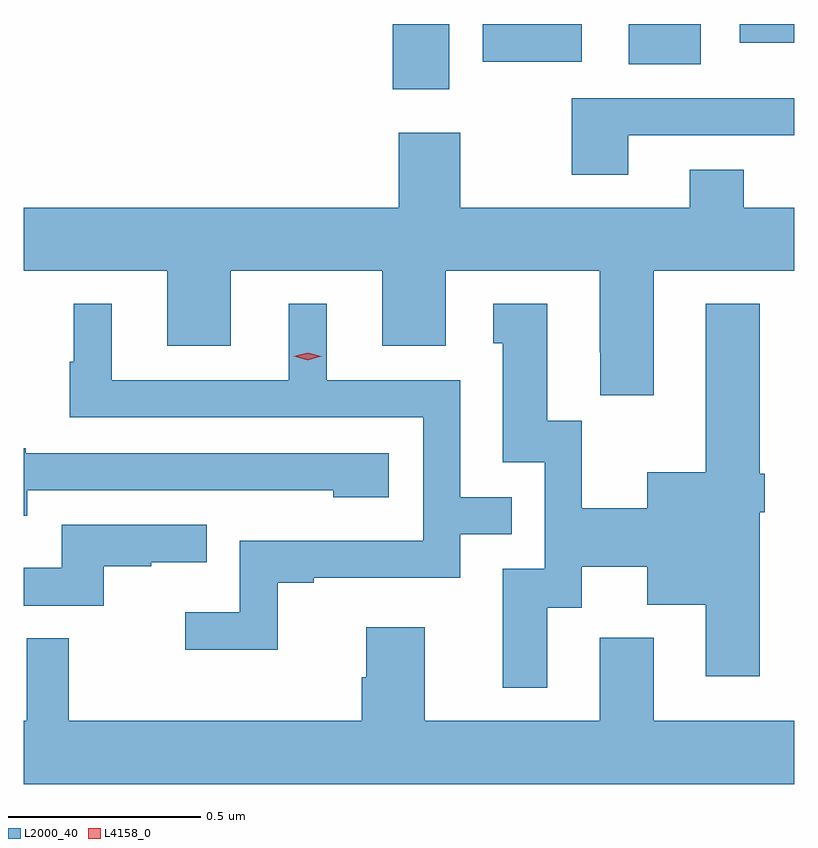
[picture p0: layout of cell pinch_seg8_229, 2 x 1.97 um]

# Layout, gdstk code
import gdstk
lib = gdstk.Library(unit=1e-6, precision=1e-09)
def R(c, l, rs):  # rectangles x0, y0, x1, y1
    for r in rs: c.add(gdstk.rectangle(r[:2], r[2:], *l))
def P(c, l, *ps):  # polygons
    for p in ps: c.add(gdstk.Polygon(p, *l))
L2000_40 = (2000, 40)
L4158_0 = (4158, 0)

pinch_seg8_229 = lib.new_cell('pinch_seg8_229')
R(pinch_seg8_229, L2000_40, [(736.334,1114.308,736.48,1114.477), (736.946,1114.373,737.134,1114.477), (736.568,1114.379,736.825,1114.477), (737.234,1114.428,737.376,1114.477)])
P(pinch_seg8_229, L2000_40, [(736.945,1114.188),(737.376,1114.188),(737.376,1114.284),(736.798,1114.284),(736.798,1114.086),(736.945,1114.086)],
  [(737.011,1113.836),(737.376,1113.836),(737.376,1114),(737.245,1114),(737.245,1114.099),(737.105,1114.099),(737.105,1114),(736.509,1114),(736.509,1114.195),(736.349,1114.195),(736.349,1114),(735.376,1114),(735.376,1113.836),(735.749,1113.836),(735.749,1113.642),(735.913,1113.642),(735.913,1113.836),(736.307,1113.836),(736.307,1113.642),(736.471,1113.642),(736.471,1113.836),(736.871,1113.836),(736.871,1113.625),(736.872,1113.625),(736.872,1113.513),(737.011,1113.513)],
  [(736.735,1112.962),(736.825,1112.962),(736.825,1113.068),(736.994,1113.068),(736.994,1112.969),(737.147,1112.969),(737.147,1112.784),(737.287,1112.784),(737.287,1113.209),(737.3,1113.209),(737.3,1113.309),(737.287,1113.309),(737.287,1113.751),(737.147,1113.751),(737.147,1113.313),(736.994,1113.313),(736.994,1113.22),(736.824,1113.22),(736.824,1113.447),(736.735,1113.447),(736.735,1113.751),(736.595,1113.751),(736.595,1113.648),(736.619,1113.648),(736.619,1113.339),(736.728,1113.339),(736.728,1113.063),(736.619,1113.063),(736.619,1112.754),(736.735,1112.754)],
  [(736.035,1113.027),(736.129,1113.027),(736.129,1113.039),(736.509,1113.039),(736.509,1113.153),(736.643,1113.153),(736.643,1113.249),(736.509,1113.249),(736.509,1113.552),(736.162,1113.552),(736.162,1113.751),(736.064,1113.751),(736.064,1113.552),(735.604,1113.552),(735.604,1113.751),(735.506,1113.751),(735.506,1113.6),(735.495,1113.6),(735.495,1113.456),(736.413,1113.456),(736.413,1113.135),(735.936,1113.135),(735.936,1112.95),(735.795,1112.95),(735.795,1112.852),(736.035,1112.852)],
  [(735.385,1113.267),(735.943,1113.267),(735.943,1113.266),(736.179,1113.266),(736.179,1113.248),(736.324,1113.248),(736.324,1113.363),(735.381,1113.363),(735.381,1113.376),(735.376,1113.376),(735.376,1113.2),(735.385,1113.2)],
  [(735.584,1113.069),(735.707,1113.069),(735.707,1113.08),(735.851,1113.08),(735.851,1113.177),(735.474,1113.177),(735.474,1113.065),(735.376,1113.065),(735.376,1112.967),(735.584,1112.967)],
  [(737.376,1112.668),(737.011,1112.668),(737.011,1112.884),(736.871,1112.884),(736.871,1112.668),(736.417,1112.668),(736.417,1112.911),(736.265,1112.911),(736.265,1112.781),(736.253,1112.781),(736.253,1112.668),(735.493,1112.668),(735.493,1112.882),(735.384,1112.882),(735.384,1112.668),(735.376,1112.668),(735.376,1112.504),(737.376,1112.504)])
P(pinch_seg8_229, L4158_0, [(736.113,1113.604),(736.077,1113.614),(736.077,1113.614),(736.077,1113.615),(736.113,1113.624),(736.148,1113.615),(736.149,1113.614),(736.148,1113.614)])

lib.write_gds('pinch_seg8_229.gds')
